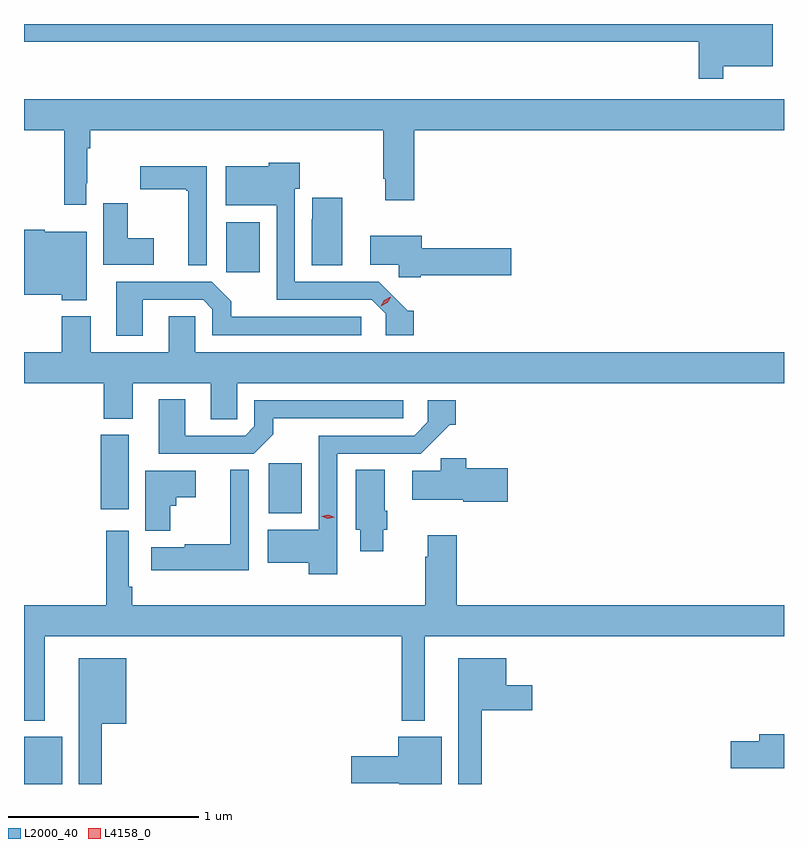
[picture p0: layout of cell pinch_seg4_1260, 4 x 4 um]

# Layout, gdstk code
import gdstk
lib = gdstk.Library(unit=1e-6, precision=1e-09)
def R(c, l, rs):  # rectangles x0, y0, x1, y1
    for r in rs: c.add(gdstk.rectangle(r[:2], r[2:], *l))
def P(c, l, *ps):  # polygons
    for p in ps: c.add(gdstk.Polygon(p, *l))
L2000_40 = (2000, 40)
L4158_0 = (4158, 0)

pinch_seg4_1260 = lib.new_cell('pinch_seg4_1260')
R(pinch_seg4_1260, L2000_40, [(347.651,769.403,347.851,769.651), (348.938,770.828,349.114,771.092), (348.056,770.849,348.202,771.24), (348.716,772.097,348.892,772.36)])
P(pinch_seg4_1260, L2000_40, [(351.331,773.18),(351.592,773.18),(351.592,773.403),(347.651,773.403),(347.651,773.31),(351.202,773.31),(351.202,773.115),(351.331,773.115)],
  [(347.979,772.564),(347.984,772.564),(347.984,772.748),(347.999,772.748),(347.999,772.844),(349.541,772.844),(349.541,772.588),(349.553,772.588),(349.553,772.476),(349.706,772.476),(349.706,772.844),(351.651,772.844),(351.651,773.008),(347.651,773.008),(347.651,772.844),(347.863,772.844),(347.863,772.452),(347.979,772.452)],
  [(349.702,771.895),(349.67,771.895),(349.518,772.047),(349.077,772.047),(349.077,772.536),(349.102,772.536),(349.102,772.672),(348.939,772.672),(348.939,772.654),(348.713,772.654),(348.713,772.448),(348.981,772.448),(348.981,771.951),(349.482,771.951),(349.554,771.879),(349.554,771.765),(349.702,771.765)],
  [(348.612,772.654),(348.264,772.654),(348.264,772.532),(348.504,772.532),(348.504,772.525),(348.515,772.525),(348.515,772.132),(348.612,772.132)],
  [(349.327,772.489),(349.167,772.489),(349.167,772.376),(349.166,772.376),(349.166,772.132),(349.327,772.132)],
  [(348.334,772.276),(348.198,772.276),(348.198,772.459),(348.068,772.459),(348.068,772.136),(348.334,772.136)],
  [(347.98,772.309),(347.76,772.309),(347.76,772.321),(347.651,772.321),(347.651,771.977),(347.85,771.977),(347.85,771.95),(347.98,771.95)],
  [(349.74,772.081),(350.215,772.081),(350.215,772.223),(349.744,772.223),(349.744,772.288),(349.473,772.288),(349.473,772.136),(349.623,772.136),(349.623,772.071),(349.74,772.071)],
  [(348.277,771.951),(348.594,771.951),(348.642,771.903),(348.642,771.765),(349.426,771.765),(349.426,771.861),(348.741,771.861),(348.741,771.945),(348.639,772.047),(348.137,772.047),(348.137,771.762),(348.277,771.762)],
  [(348.774,771.512),(351.651,771.512),(351.651,771.676),(348.552,771.676),(348.552,771.866),(348.413,771.866),(348.413,771.676),(348.001,771.676),(348.001,771.865),(347.849,771.865),(347.849,771.676),(347.651,771.676),(347.651,771.512),(348.071,771.512),(348.071,771.325),(348.223,771.325),(348.223,771.512),(348.635,771.512),(348.635,771.322),(348.774,771.322)],
  [(348.963,771.243),(348.963,771.327),(349.648,771.327),(349.648,771.423),(348.864,771.423),(348.864,771.285),(348.816,771.237),(348.499,771.237),(348.499,771.427),(348.359,771.427),(348.359,771.141),(348.861,771.141)],
  [(349.299,771.141),(349.74,771.141),(349.892,771.293),(349.924,771.293),(349.924,771.423),(349.776,771.423),(349.776,771.309),(349.704,771.237),(349.203,771.237),(349.203,770.74),(348.935,770.74),(348.935,770.567),(349.15,770.567),(349.15,770.508),(349.299,770.508)],
  [(350.197,771.066),(349.979,771.066),(349.979,771.117),(349.845,771.117),(349.845,771.052),(349.695,771.052),(349.695,770.9),(349.962,770.9),(349.962,770.888),(350.197,770.888)],
  [(348.834,771.056),(348.737,771.056),(348.737,770.664),(348.498,770.664),(348.498,770.65),(348.321,770.65),(348.321,770.528),(348.834,770.528)],
  [(349.543,770.742),(349.562,770.742),(349.562,770.842),(349.549,770.842),(349.549,771.056),(349.397,771.056),(349.397,770.742),(349.421,770.742),(349.421,770.627),(349.543,770.627)],
  [(348.42,770.867),(348.451,770.867),(348.451,770.912),(348.556,770.912),(348.556,771.052),(348.29,771.052),(348.29,770.735),(348.42,770.735)],
  [(347.761,770.18),(349.638,770.18),(349.638,769.736),(349.759,769.736),(349.759,770.18),(351.651,770.18),(351.651,770.344),(349.928,770.344),(349.928,770.713),(349.775,770.713),(349.775,770.6),(349.763,770.6),(349.763,770.344),(348.221,770.344),(348.221,770.44),(348.201,770.44),(348.201,770.737),(348.085,770.737),(348.085,770.344),(347.651,770.344),(347.651,769.736),(347.761,769.736)],
  [(350.059,769.79),(350.326,769.79),(350.326,769.924),(350.188,769.924),(350.188,770.065),(349.937,770.065),(349.937,769.403),(350.059,769.403)],
  [(348.061,769.721),(348.19,769.721),(348.19,770.065),(347.939,770.065),(347.939,769.403),(348.061,769.403)],
  [(351.651,769.664),(351.521,769.664),(351.521,769.628),(351.372,769.628),(351.372,769.486),(351.651,769.486)],
  [(349.849,769.651),(349.622,769.651),(349.622,769.55),(349.374,769.55),(349.374,769.408),(349.626,769.408),(349.626,769.403),(349.849,769.403)])
P(pinch_seg4_1260, L4158_0, [(349.25,770.799),(349.215,770.811),(349.215,770.811),(349.215,770.811),(349.251,770.819),(349.286,770.807),(349.287,770.807),(349.286,770.807)],
  [(349.528,771.918),(349.528,771.918),(349.548,771.95),(349.581,771.967),(349.582,771.967),(349.582,771.966),(349.562,771.935),(349.528,771.918)])

lib.write_gds('pinch_seg4_1260.gds')
